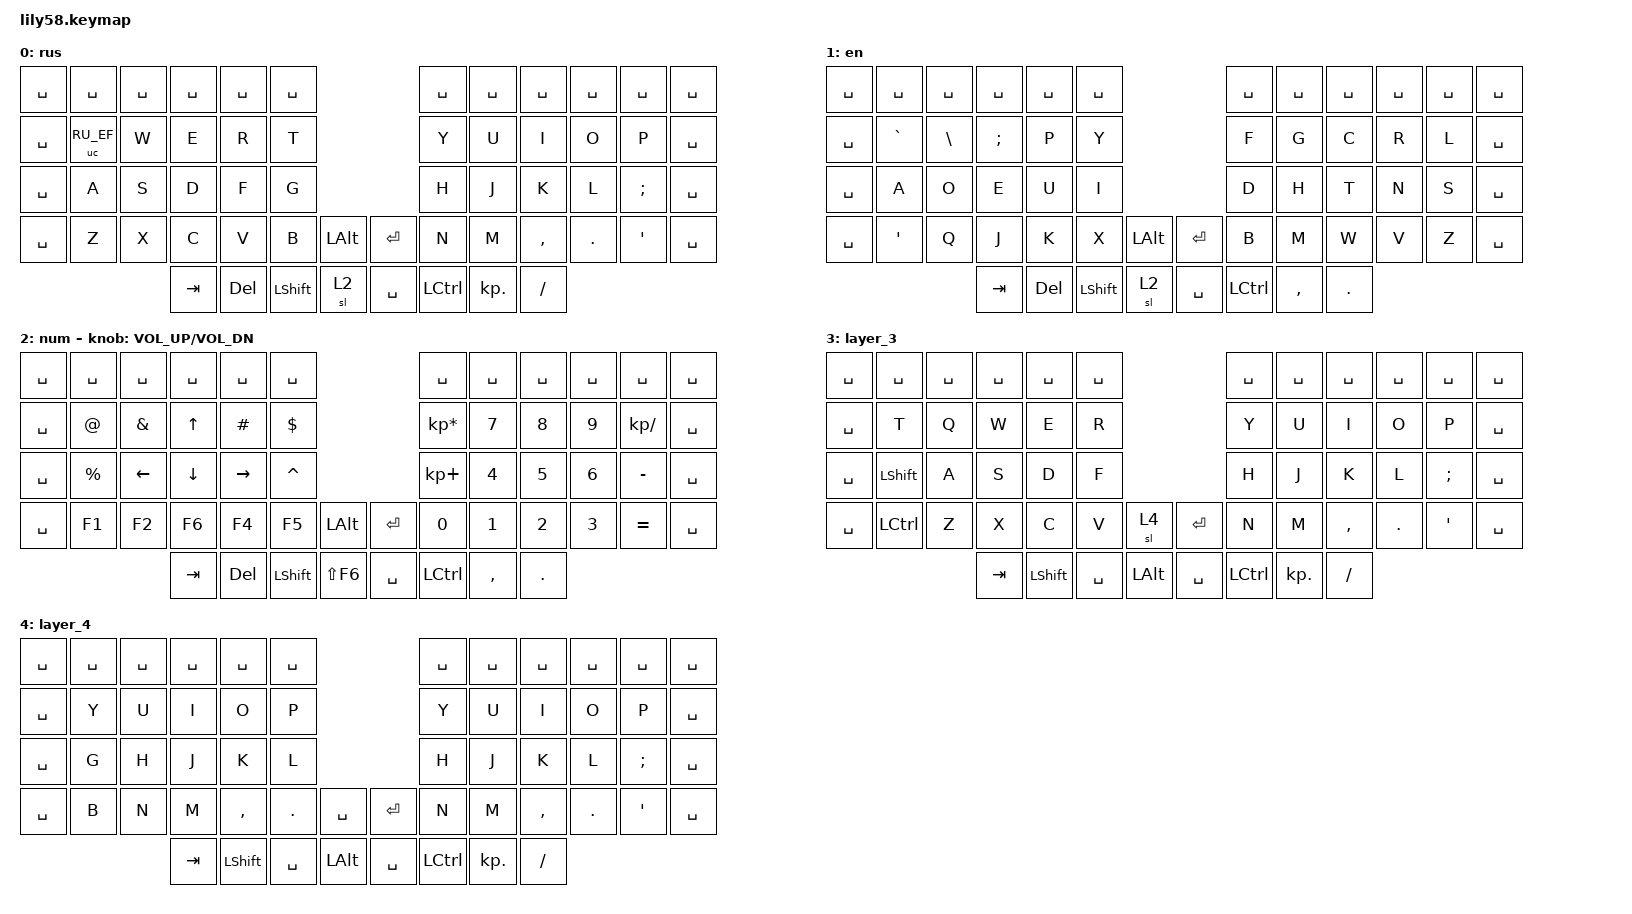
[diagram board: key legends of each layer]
/*
 * Copyright (c) 2020 The ZMK Contributors
 *
 * SPDX-License-Identifier: MIT
 */

#include <behaviors.dtsi>
#include <dt-bindings/zmk/keys.h>
#include <behaviors/unicode.dtsi>

&uc {
  default-mode = <UC_MODE_WIN_COMPOSE>;
  win-compose-key = <RALT>;   // по умолчанию так и есть, можно поменять
};
// Пара: (без Shift, с Shift)
#define UPAIR(lo, hi) lo hi

// --- EN (латиница) ---
#define EN_A UPAIR(0x0061, 0x0041)
#define EN_B UPAIR(0x0062, 0x0042)
#define EN_C UPAIR(0x0063, 0x0043)
// ... продолжи по аналогии до EN_Z (0x007A / 0x005A)

// --- RU (кириллица) ---
#define RU_A        UPAIR(0x0430, 0x0410) // а/А
#define RU_BE       UPAIR(0x0431, 0x0411) // б/Б
#define RU_VE       UPAIR(0x0432, 0x0412) // в/В
#define RU_GHE      UPAIR(0x0433, 0x0413) // г/Г
#define RU_DE       UPAIR(0x0434, 0x0414) // д/Д
#define RU_IE       UPAIR(0x0435, 0x0415) // е/Е
#define RU_IO       UPAIR(0x0451, 0x0401) // ё/Ё
#define RU_ZHE      UPAIR(0x0436, 0x0416) // ж/Ж
#define RU_ZE       UPAIR(0x0437, 0x0417) // з/З
#define RU_I        UPAIR(0x0438, 0x0418) // и/И
#define RU_SHORT_I  UPAIR(0x0439, 0x0419) // й/Й
#define RU_KA       UPAIR(0x043A, 0x041A) // к/К
#define RU_EL       UPAIR(0x043B, 0x041B) // л/Л
#define RU_EM       UPAIR(0x043C, 0x041C) // м/М
#define RU_EN       UPAIR(0x043D, 0x041D) // н/Н
#define RU_O        UPAIR(0x043E, 0x041E) // о/О
#define RU_PE       UPAIR(0x043F, 0x041F) // п/П
#define RU_ER       UPAIR(0x0440, 0x0420) // р/Р
#define RU_ES       UPAIR(0x0441, 0x0421) // с/С
#define RU_TE       UPAIR(0x0442, 0x0422) // т/Т
#define RU_U        UPAIR(0x0443, 0x0423) // у/У
#define RU_EF       UPAIR(0x0444, 0x0424) // ф/Ф
#define RU_HA       UPAIR(0x0445, 0x0425) // х/Х
#define RU_TSE      UPAIR(0x0446, 0x0426) // ц/Ц
#define RU_CHE      UPAIR(0x0447, 0x0427) // ч/Ч
#define RU_SHA      UPAIR(0x0448, 0x0428) // ш/Ш
#define RU_SHCHA    UPAIR(0x0449, 0x0429) // щ/Щ
#define RU_HARD     UPAIR(0x044A, 0x042A) // ъ/Ъ
#define RU_YERU     UPAIR(0x044B, 0x042B) // ы/Ы
#define RU_SOFT     UPAIR(0x044C, 0x042C) // ь/Ь
#define RU_E        UPAIR(0x044D, 0x042D) // э/Э
#define RU_YU       UPAIR(0x044E, 0x042E) // ю/Ю
#define RU_YA       UPAIR(0x044F, 0x042F) // я/Я
/ {
    combos {
        compatible = "zmk,combos";

        combo_esc {
            key-positions = <13 14>;
            bindings = <&kp ESC>;
            layers = <0 1 2>;
        };

        skob {
            bindings = <&kp LEFT_PARENTHESIS>;
            key-positions = <31 32>;
            layers = <0 2 1>;
        };

        skobb {
            bindings = <&kp RIGHT_PARENTHESIS>;
            key-positions = <32 33>;
            layers = <0 2 1>;
        };

        del {
            bindings = <&kp BACKSPACE>;
            key-positions = <21 22>;
        };

        x {
            bindings = <&kp LEFT_BRACKET>;
            key-positions = <33 34>;
            layers = <0>;
        };

        hard {
            bindings = <&kp RIGHT_BRACKET>;
            key-positions = <45 46>;
            layers = <0>;
        };

        questionRus {
            bindings = <&kp AMPERSAND>;
            key-positions = <21 19>;
            layers = <0>;
        };

        opaa {
            bindings = <&kp EXCLAMATION>;
            key-positions = <21 18>;
        };

        scoben {
            bindings = <&kp LEFT_BRACKET>;
            key-positions = <19 20>;
            layers = <1>;
        };

        scobenn {
            bindings = <&kp RIGHT_BRACKET>;
            key-positions = <20 21>;
            layers = <1>;
        };

        rusToEn {
            bindings = <&to 1>;
            key-positions = <30 34>;
            layers = <0>;
        };

        enToRus {
            bindings = <&to 0>;
            key-positions = <30 34>;
            layers = <1>;
        };

        questionEn {
            bindings = <&kp QUESTION>;
            key-positions = <19 21>;
            layers = <1 2>;
        };

        SkobenLow {
            bindings = <&kp LESS_THAN>;
            key-positions = <45 46>;
            layers = <1>;
        };

        SkobenLow2 {
            bindings = <&kp GREATER_THAN>;
            key-positions = <46 47>;
            layers = <1>;
        };

        GameMode {
            bindings = <&to 3>;
            key-positions = <43 54 55>;
            layers = <0 1 2>;
        };

        NormalMode {
            bindings = <&to 0>;
            key-positions = <43 54 55>;
            layers = <3>;
        };
    };

    behaviors {
        ss_hs_modmorph: ss_hs_modmorph {
            compatible = "zmk,behavior-mod-morph";
            label = "SS_HS_MODMORPH";
            bindings = <&kp M>, <&kp RIGHT_BRACKET>;

            #binding-cells = <0>;
            mods = <(MOD_LSFT|MOD_RSFT)>;
        };

        kh_hs_tapdance: kh_hs_tapdance {
            compatible = "zmk,behavior-tap-dance";
            label = "KH_HS_TAPDANCE";
            #binding-cells = <0>;
            tapping-term-ms = <200>;
            bindings = <&kp LEFT_BRACKET>, <&kp RIGHT_BRACKET>;
        };

        hrm: hrm {
            compatible = "zmk,behavior-hold-tap";
            #binding-cells = <2>;
            flavor = "tap-preferred";
            tapping-term-ms = <200>;
            quick-tap-ms = <200>;
            require-prior-idle-ms = <125>;
            bindings = <&kp>, <&kp>;
        };
    };

    keymap {
        compatible = "zmk,keymap";

        rus {
            // ------------------------------------------------------------------------------------------------------------
            // |  ESC  |  1  |  2  |  3   |  4   |  5   |                   |  6   |  7    |  8    |  9   |   0   |   `   |
            // |  TAB  |  Q  |  W  |  E   |  R   |  T   |                   |  Y   |  U    |  I    |  O   |   P   |   -   |
            // |  CTRL |  A  |  S  |  D   |  F   |  G   |                   |  H   |  J    |  K    |  L   |   ;   |   '   |
            // | SHIFT |  Z  |  X  |  C   |  V   |  B   |   "["  |  |  "]"  |  N   |  M    |  ,    |  .   |   /   | SHIFT |
            //                     | ALT  | GUI  | LOWER|  SPACE |  | ENTER | RAISE| BSPC  | GUI   |

            bindings = <
&kp SPACE  &kp SPACE  &kp SPACE  &kp SPACE  &kp SPACE   &kp SPACE                         &kp SPACE  &kp SPACE   &kp SPACE  &kp SPACE  &kp SPACE  &kp SPACE
&kp SPACE  &uc RU_EF  &kp W      &kp E      &kp R       &kp T                             &kp Y      &kp U       &kp I      &kp O      &kp P      &kp SPACE
&kp SPACE  &kp A      &kp S      &kp D      &kp F       &kp G                             &kp H      &kp J       &kp K      &kp L      &kp SEMI   &kp SPACE
&kp SPACE  &kp Z      &kp X      &kp C      &kp V       &kp B      &kp LALT    &kp ENTER  &kp N      &kp M       &kp COMMA  &kp DOT    &kp APOS   &kp SPACE
                                 &kp TAB    &kp DELETE  &kp LSHFT  &sl 2       &kp SPACE  &kp LCTRL  &kp KP_DOT  &kp FSLH
            >;
        };

        en {
            bindings = <
&kp SPACE  &kp SPACE  &kp SPACE  &kp SPACE  &kp SPACE   &kp SPACE                         &kp SPACE  &kp SPACE  &kp SPACE  &kp SPACE  &kp SPACE  &kp SPACE
&kp SPACE  &kp GRAVE  &kp BSLH   &kp SEMI   &kp P       &kp Y                             &kp F      &kp G      &kp C      &kp R      &kp L      &kp SPACE
&kp SPACE  &kp A      &kp O      &kp E      &kp U       &kp I                             &kp D      &kp H      &kp T      &kp N      &kp S      &kp SPACE
&kp SPACE  &kp APOS   &kp Q      &kp J      &kp K       &kp X      &kp LALT    &kp ENTER  &kp B      &kp M      &kp W      &kp V      &kp Z      &kp SPACE
                                 &kp TAB    &kp DELETE  &kp LSHFT  &sl 2       &kp SPACE  &kp LCTRL  &kp COMMA  &kp DOT
            >;
        };

        num {
            bindings = <
&kp SPACE  &kp SPACE    &kp SPACE      &kp SPACE       &kp SPACE   &kp SPACE                            &kp SPACE        &kp SPACE  &kp SPACE  &kp SPACE  &kp SPACE      &kp SPACE
&kp SPACE  &kp AT_SIGN  &kp AMPERSAND  &kp UP          &kp POUND   &kp DOLLAR                           &kp KP_ASTERISK  &kp N7     &kp N8     &kp N9     &kp KP_DIVIDE  &kp SPACE
&kp SPACE  &kp PERCENT  &kp LEFT       &kp DOWN_ARROW  &kp RIGHT   &kp CARET                            &kp KP_PLUS      &kp N4     &kp N5     &kp N6     &kp MINUS      &kp SPACE
&kp SPACE  &kp F1       &kp F2         &kp F6          &kp F4      &kp F5      &kp LALT      &kp ENTER  &kp NUMBER_0     &kp N1     &kp N2     &kp N3     &kp EQUAL      &kp SPACE
                                       &kp TAB         &kp DELETE  &kp LSHFT   &kp LS(F6)    &kp SPACE  &kp LCTRL        &kp COMMA  &kp DOT
            >;

            sensor-bindings = <&inc_dec_kp C_VOL_UP C_VOL_DN>;
        };

        layer_3 {
            bindings = <
&kp SPACE  &kp SPACE  &kp SPACE  &kp SPACE  &kp SPACE  &kp SPACE                         &kp SPACE  &kp SPACE   &kp SPACE  &kp SPACE  &kp SPACE  &kp SPACE
&kp SPACE  &kp T      &kp Q      &kp W      &kp E      &kp R                             &kp Y      &kp U       &kp I      &kp O      &kp P      &kp SPACE
&kp SPACE  &kp LSHFT  &kp A      &kp S      &kp D      &kp F                             &kp H      &kp J       &kp K      &kp L      &kp SEMI   &kp SPACE
&kp SPACE  &kp LCTRL  &kp Z      &kp X      &kp C      &kp V      &sl 4       &kp ENTER  &kp N      &kp M       &kp COMMA  &kp DOT    &kp APOS   &kp SPACE
                                 &kp TAB    &kp LSHFT  &kp SPACE  &kp LALT    &kp SPACE  &kp LCTRL  &kp KP_DOT  &kp FSLH
            >;
        };

        layer_4 {
            bindings = <
&kp SPACE  &kp SPACE  &kp SPACE  &kp SPACE  &kp SPACE  &kp SPACE                          &kp SPACE  &kp SPACE   &kp SPACE  &kp SPACE  &kp SPACE  &kp SPACE
&kp SPACE  &kp Y      &kp U      &kp I      &kp O      &kp P                              &kp Y      &kp U       &kp I      &kp O      &kp P      &kp SPACE
&kp SPACE  &kp G      &kp H      &kp J      &kp K      &kp L                              &kp H      &kp J       &kp K      &kp L      &kp SEMI   &kp SPACE
&kp SPACE  &kp B      &kp N      &kp M      &kp COMMA  &kp DOT    &kp SPACE    &kp ENTER  &kp N      &kp M       &kp COMMA  &kp DOT    &kp APOS   &kp SPACE
                                 &kp TAB    &kp LSHFT  &kp SPACE  &kp LALT     &kp SPACE  &kp LCTRL  &kp KP_DOT  &kp FSLH
            >;
        };
    };
};
